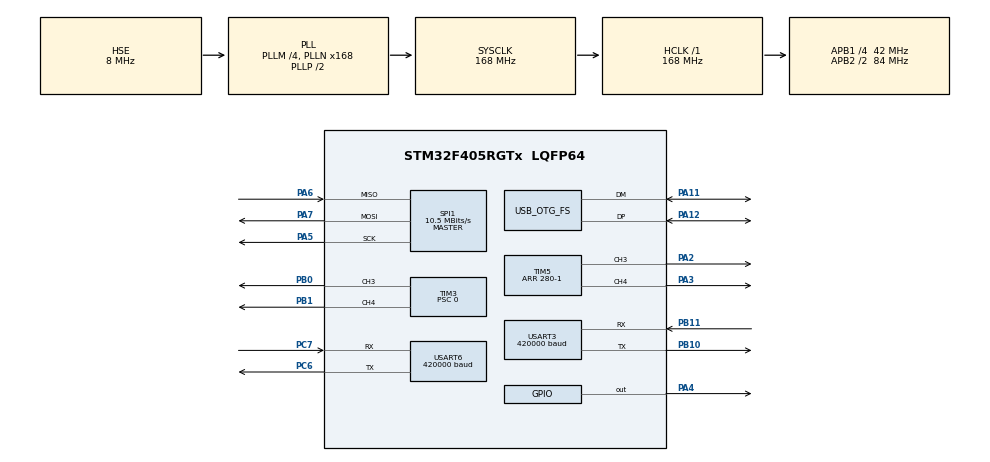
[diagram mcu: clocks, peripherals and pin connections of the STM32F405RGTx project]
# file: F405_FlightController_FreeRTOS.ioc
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Dma.Request0=SPI1_RX
Dma.Request1=SPI1_TX
Dma.Request2=TIM3_CH3
Dma.Request3=TIM5_CH3/UP
Dma.Request4=TIM5_CH4/TRIG
Dma.Request5=TIM3_CH4/UP
Dma.Request6=USART6_RX
Dma.Request7=USART3_TX
Dma.SPI1_RX.0.Direction=DMA_PERIPH_TO_MEMORY
Dma.SPI1_RX.0.FIFOMode=DMA_FIFOMODE_DISABLE
Dma.SPI1_RX.0.Instance=DMA2_Stream0
Dma.SPI1_RX.0.MemDataAlignment=DMA_MDATAALIGN_BYTE
Dma.SPI1_RX.0.MemInc=DMA_MINC_ENABLE
Dma.SPI1_RX.0.Mode=DMA_NORMAL
Dma.SPI1_RX.0.PeriphDataAlignment=DMA_PDATAALIGN_BYTE
Dma.SPI1_RX.0.PeriphInc=DMA_PINC_DISABLE
Dma.SPI1_RX.0.Priority=DMA_PRIORITY_HIGH
Dma.SPI1_TX.1.Direction=DMA_MEMORY_TO_PERIPH
Dma.SPI1_TX.1.FIFOMode=DMA_FIFOMODE_DISABLE
Dma.SPI1_TX.1.Instance=DMA2_Stream3
Dma.SPI1_TX.1.MemDataAlignment=DMA_MDATAALIGN_BYTE
Dma.SPI1_TX.1.MemInc=DMA_MINC_ENABLE
Dma.SPI1_TX.1.Mode=DMA_NORMAL
Dma.SPI1_TX.1.PeriphDataAlignment=DMA_PDATAALIGN_BYTE
Dma.SPI1_TX.1.PeriphInc=DMA_PINC_DISABLE
Dma.SPI1_TX.1.Priority=DMA_PRIORITY_HIGH
Dma.TIM3_CH3.2.Direction=DMA_MEMORY_TO_PERIPH
Dma.TIM3_CH3.2.FIFOMode=DMA_FIFOMODE_ENABLE
Dma.TIM3_CH3.2.FIFOThreshold=DMA_FIFO_THRESHOLD_FULL
Dma.TIM3_CH3.2.Instance=DMA1_Stream7
Dma.TIM3_CH3.2.MemBurst=DMA_MBURST_SINGLE
Dma.TIM3_CH3.2.MemDataAlignment=DMA_MDATAALIGN_WORD
Dma.TIM3_CH3.2.MemInc=DMA_MINC_ENABLE
Dma.TIM3_CH3.2.Mode=DMA_CIRCULAR
Dma.TIM3_CH3.2.PeriphBurst=DMA_PBURST_SINGLE
Dma.TIM3_CH3.2.PeriphDataAlignment=DMA_PDATAALIGN_WORD
Dma.TIM3_CH3.2.PeriphInc=DMA_PINC_DISABLE
Dma.TIM3_CH3.2.Priority=DMA_PRIORITY_VERY_HIGH
Dma.TIM3_CH4/UP.5.Direction=DMA_MEMORY_TO_PERIPH
Dma.TIM3_CH4/UP.5.FIFOMode=DMA_FIFOMODE_ENABLE
Dma.TIM3_CH4/UP.5.FIFOThreshold=DMA_FIFO_THRESHOLD_FULL
Dma.TIM3_CH4/UP.5.Instance=DMA1_Stream2
Dma.TIM3_CH4/UP.5.MemBurst=DMA_MBURST_SINGLE
Dma.TIM3_CH4/UP.5.MemDataAlignment=DMA_MDATAALIGN_WORD
Dma.TIM3_CH4/UP.5.MemInc=DMA_MINC_ENABLE
Dma.TIM3_CH4/UP.5.Mode=DMA_CIRCULAR
Dma.TIM3_CH4/UP.5.PeriphBurst=DMA_PBURST_SINGLE
Dma.TIM3_CH4/UP.5.PeriphDataAlignment=DMA_PDATAALIGN_WORD
Dma.TIM3_CH4/UP.5.PeriphInc=DMA_PINC_DISABLE
Dma.TIM3_CH4/UP.5.Priority=DMA_PRIORITY_VERY_HIGH
Dma.TIM5_CH3/UP.3.Direction=DMA_MEMORY_TO_PERIPH
Dma.TIM5_CH3/UP.3.FIFOMode=DMA_FIFOMODE_ENABLE
Dma.TIM5_CH3/UP.3.FIFOThreshold=DMA_FIFO_THRESHOLD_FULL
Dma.TIM5_CH3/UP.3.Instance=DMA1_Stream0
Dma.TIM5_CH3/UP.3.MemBurst=DMA_MBURST_SINGLE
Dma.TIM5_CH3/UP.3.MemDataAlignment=DMA_MDATAALIGN_WORD
Dma.TIM5_CH3/UP.3.MemInc=DMA_MINC_ENABLE
Dma.TIM5_CH3/UP.3.Mode=DMA_CIRCULAR
Dma.TIM5_CH3/UP.3.PeriphBurst=DMA_PBURST_SINGLE
Dma.TIM5_CH3/UP.3.PeriphDataAlignment=DMA_PDATAALIGN_WORD
Dma.TIM5_CH3/UP.3.PeriphInc=DMA_PINC_DISABLE
Dma.TIM5_CH3/UP.3.Priority=DMA_PRIORITY_VERY_HIGH
Dma.TIM5_CH4/TRIG.4.Direction=DMA_MEMORY_TO_PERIPH
Dma.TIM5_CH4/TRIG.4.FIFOMode=DMA_FIFOMODE_ENABLE
Dma.TIM5_CH4/TRIG.4.FIFOThreshold=DMA_FIFO_THRESHOLD_FULL
Dma.TIM5_CH4/TRIG.4.Instance=DMA1_Stream3
Dma.TIM5_CH4/TRIG.4.MemBurst=DMA_MBURST_SINGLE
Dma.TIM5_CH4/TRIG.4.MemDataAlignment=DMA_MDATAALIGN_WORD
Dma.TIM5_CH4/TRIG.4.MemInc=DMA_MINC_ENABLE
Dma.TIM5_CH4/TRIG.4.Mode=DMA_CIRCULAR
Dma.TIM5_CH4/TRIG.4.PeriphBurst=DMA_PBURST_SINGLE
Dma.TIM5_CH4/TRIG.4.PeriphDataAlignment=DMA_PDATAALIGN_WORD
Dma.TIM5_CH4/TRIG.4.PeriphInc=DMA_PINC_DISABLE
Dma.TIM5_CH4/TRIG.4.Priority=DMA_PRIORITY_VERY_HIGH
Dma.USART3_TX.7.Direction=DMA_MEMORY_TO_PERIPH
Dma.USART3_TX.7.FIFOMode=DMA_FIFOMODE_DISABLE
Dma.USART3_TX.7.Instance=DMA1_Stream4
Dma.USART3_TX.7.MemDataAlignment=DMA_MDATAALIGN_BYTE
Dma.USART3_TX.7.MemInc=DMA_MINC_ENABLE
Dma.USART3_TX.7.Mode=DMA_NORMAL
Dma.USART3_TX.7.PeriphDataAlignment=DMA_PDATAALIGN_BYTE
Dma.USART3_TX.7.PeriphInc=DMA_PINC_DISABLE
Dma.USART3_TX.7.Priority=DMA_PRIORITY_HIGH
Dma.USART6_RX.6.Direction=DMA_PERIPH_TO_MEMORY
Dma.USART6_RX.6.FIFOMode=DMA_FIFOMODE_DISABLE
Dma.USART6_RX.6.Instance=DMA2_Stream1
Dma.USART6_RX.6.MemDataAlignment=DMA_MDATAALIGN_BYTE
Dma.USART6_RX.6.MemInc=DMA_MINC_ENABLE
Dma.USART6_RX.6.Mode=DMA_CIRCULAR
Dma.USART6_RX.6.PeriphDataAlignment=DMA_PDATAALIGN_BYTE
Dma.USART6_RX.6.PeriphInc=DMA_PINC_DISABLE
Dma.USART6_RX.6.Priority=DMA_PRIORITY_VERY_HIGH
FREERTOS.BinarySemaphores01=rc_ready_semHandle,Dynamic,NULL,Available
FREERTOS.Tasks01=sensor_fusion_t,3,512,sensor_fusion_func,Default,NULL,Dynamic,NULL,NULL;control_task,2,512,control_func,Default,NULL,Dynamic,NULL,NULL;rc_input_task,2,256,rc_input_func,Default,NULL,Dynamic,NULL,NULL;telemetry_task,-2,384,telemetry_func,Default,NULL,Dynamic,NULL,NULL
Mcu.Family=STM32F4
Mcu.Name=STM32F405RGTx
Mcu.Package=LQFP64
NVIC.DMA1_Stream0_IRQn=true\:5\:0\:true\:false\:true\:true\:false\:true\:true
NVIC.DMA1_Stream2_IRQn=true\:5\:0\:true\:false\:true\:true\:false\:true\:true
NVIC.DMA1_Stream3_IRQn=true\:5\:0\:true\:false\:true\:true\:false\:true\:true
NVIC.DMA1_Stream4_IRQn=true\:5\:0\:false\:false\:true\:true\:false\:true\:true
NVIC.DMA1_Stream7_IRQn=true\:5\:0\:true\:false\:true\:true\:false\:true\:true
NVIC.DMA2_Stream0_IRQn=true\:5\:0\:true\:false\:true\:true\:false\:true\:true
NVIC.DMA2_Stream1_IRQn=true\:5\:0\:false\:false\:true\:true\:false\:true\:true
NVIC.DMA2_Stream3_IRQn=true\:5\:0\:true\:false\:true\:true\:false\:true\:true
NVIC.OTG_FS_IRQn=true\:5\:0\:false\:false\:true\:true\:false\:true\:true
NVIC.PriorityGroup=NVIC_PRIORITYGROUP_4
NVIC.SPI1_IRQn=true\:5\:0\:true\:false\:true\:true\:true\:true\:true
NVIC.TIM2_IRQn=true\:5\:0\:true\:false\:true\:true\:true\:true\:true
NVIC.TIM4_IRQn=true\:15\:0\:false\:false\:true\:false\:false\:true\:true
NVIC.TimeBase=TIM4_IRQn
NVIC.TimeBaseIP=TIM4
NVIC.USART6_IRQn=true\:5\:0\:true\:false\:true\:true\:true\:true\:true
PA11.Mode=Device_Only
PA11.Signal=USB_OTG_FS_DM
PA12.Mode=Device_Only
PA12.Signal=USB_OTG_FS_DP
PA2.Signal=S_TIM5_CH3
PA3.Signal=S_TIM5_CH4
PA4.GPIO_Speed=GPIO_SPEED_FREQ_HIGH
PA4.PinState=GPIO_PIN_SET
PA4.Signal=GPIO_Output
PA5.Mode=Full_Duplex_Master
PA5.Signal=SPI1_SCK
PA6.Mode=Full_Duplex_Master
PA6.Signal=SPI1_MISO
PA7.Mode=Full_Duplex_Master
PA7.Signal=SPI1_MOSI
PB0.Signal=S_TIM3_CH3
PB1.Signal=S_TIM3_CH4
PB10.Mode=Asynchronous
PB10.Signal=USART3_TX
PB11.Mode=Asynchronous
PB11.Signal=USART3_RX
PC6.Mode=Asynchronous
PC6.Signal=USART6_TX
PC7.Mode=Asynchronous
PC7.Signal=USART6_RX
PH0-OSC_IN.Mode=HSE-External-Oscillator
PH0-OSC_IN.Signal=RCC_OSC_IN
PH1-OSC_OUT.Mode=HSE-External-Oscillator
PH1-OSC_OUT.Signal=RCC_OSC_OUT
ProjectManager.HeapSize=0x200
ProjectManager.StackSize=0x400
ProjectManager.TargetToolchain=STM32CubeIDE
RCC.48MHZClocksFreq_Value=48000000
RCC.AHBFreq_Value=168000000
RCC.APB1CLKDivider=RCC_HCLK_DIV4
RCC.APB1Freq_Value=42000000
RCC.APB1TimFreq_Value=84000000
RCC.APB2CLKDivider=RCC_HCLK_DIV2
RCC.APB2Freq_Value=84000000
RCC.APB2TimFreq_Value=168000000
RCC.CortexFreq_Value=168000000
RCC.HCLKFreq_Value=168000000
RCC.HSE_VALUE=8000000
RCC.HSI_VALUE=16000000
RCC.LSE_VALUE=32768
RCC.PLLM=4
RCC.PLLN=168
RCC.PLLQ=7
RCC.SYSCLKFreq_VALUE=168000000
RCC.SYSCLKSource=RCC_SYSCLKSOURCE_PLLCLK
RCC.VCOOutputFreq_Value=336000000
SH.S_TIM3_CH3.0=TIM3_CH3,PWM Generation3 CH3
SH.S_TIM3_CH4.0=TIM3_CH4,PWM Generation4 CH4
SH.S_TIM5_CH3.0=TIM5_CH3,PWM Generation3 CH3
SH.S_TIM5_CH4.0=TIM5_CH4,PWM Generation4 CH4
SPI1.BaudRatePrescaler=SPI_BAUDRATEPRESCALER_8
SPI1.CalculateBaudRate=10.5 MBits/s
SPI1.Direction=SPI_DIRECTION_2LINES
SPI1.Mode=SPI_MODE_MASTER
SPI1.VirtualType=VM_MASTER
TIM2.Period=1000-1
TIM2.Prescaler=84-1
TIM3.Channel-PWM\ Generation3\ CH3=TIM_CHANNEL_3
TIM3.Channel-PWM\ Generation4\ CH4=TIM_CHANNEL_4
TIM3.OCFastMode_PWM-PWM\ Generation3\ CH3=TIM_OCFAST_ENABLE
TIM3.OCFastMode_PWM-PWM\ Generation4\ CH4=TIM_OCFAST_ENABLE
TIM3.Period=280-1
TIM3.Prescaler=0
TIM3.Pulse-PWM\ Generation3\ CH3=105
TIM5.Channel-PWM\ Generation3\ CH3=TIM_CHANNEL_3
TIM5.Channel-PWM\ Generation4\ CH4=TIM_CHANNEL_4
TIM5.OCFastMode_PWM-PWM\ Generation3\ CH3=TIM_OCFAST_ENABLE
TIM5.OCFastMode_PWM-PWM\ Generation4\ CH4=TIM_OCFAST_ENABLE
TIM5.Period=280-1
TIM5.Pulse-PWM\ Generation3\ CH3=105
TIM5.Pulse-PWM\ Generation4\ CH4=105
USART3.BaudRate=420000
USART3.VirtualMode=VM_ASYNC
USART6.BaudRate=420000
USART6.OverSampling=UART_OVERSAMPLING_8
USART6.VirtualMode=VM_ASYNC
USB_DEVICE.CLASS_NAME_FS=CDC
USB_DEVICE.VirtualMode-CDC_FS=Cdc
USB_DEVICE.VirtualModeFS=Cdc_FS
USB_OTG_FS.VirtualMode=Device_Only
VP_FREERTOS_VS_CMSIS_V1.Mode=CMSIS_V1
VP_SYS_VS_tim4.Mode=TIM4
VP_TIM2_VS_ClockSourceINT.Mode=Internal
VP_TIM3_VS_ClockSourceINT.Mode=Internal
VP_TIM5_VS_ClockSourceINT.Mode=Internal
VP_USB_DEVICE_VS_USB_DEVICE_CDC_FS.Mode=CDC_FS
board=custom

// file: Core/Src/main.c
/* USER CODE BEGIN Header */
/**
  ******************************************************************************
  * @file           : main.c
  * @brief          : Main program body
  ******************************************************************************
  * @attention
  *
  * Copyright (c) 2025 STMicroelectronics.
  * All rights reserved.
  *
  * This software is licensed under terms that can be found in the LICENSE file
  * in the root directory of this software component.
  * If no LICENSE file comes with this software, it is provided AS-IS.
  *
  ******************************************************************************
  */
/* USER CODE END Header */
#include "main.h"
#include "cmsis_os.h"
#include "dma.h"
#include "spi.h"
#include "tim.h"
#include "usart.h"
#include "usb_device.h"
#include "gpio.h"

/* USER CODE BEGIN Includes */
#include "mpu6000.h"
#include "filter.h"
#include "pid.h"
#include "dshot.h"
#include "CRsF.h"
#include <string.h>
#include <math.h>
#include "stm32f4xx.h"
#include <stdbool.h>
#include "usbd_cdc_if.h"
#include "freertos.h"
/* USER CODE END Includes */

/* USER CODE BEGIN PD */
#define PID_KP_PITCH_INNER		0.8f
#define PID_KD_PITCH_INNER		0.005f
#define PID_KI_PITCH_INNER		0.2f

#define PID_KP_PITCH_OUTER		3.0f
#define PID_KD_PITCH_OUTER		0.0f
#define PID_KI_PITCH_OUTER		0.0f

#define PID_KP_ROLL_INNER		0.8f
#define PID_KD_ROLL_INNER		0.005f
#define PID_KI_ROLL_INNER		0.2f

#define PID_KP_ROLL_OUTER		3.0f
#define PID_KD_ROLL_OUTER		0.0f
#define PID_KI_ROLL_OUTER		0.0f

#define PID_KP_YAW				3.5f
#define PID_KD_YAW				0.0f
#define PID_KI_YAW				0.0f

#define PID_KP_YAW_RATE			3.5f
#define PID_KD_YAW_RATE			0.0f
#define PID_KI_YAW_RATE			0.0f
/* USER CODE END PD */

/* USER CODE BEGIN PV */
extern UART_HandleTypeDef huart6;
extern DMA_HandleTypeDef hdma_usart6_rx;
extern osThreadId sensor_fusion_tHandle;
extern osThreadId control_taskHandle;
extern osThreadId rc_input_taskHandle;
extern osThreadId telemetry_taskHandle;

extern IIR_Filter_3D gyro_filtered;
extern Double_PID_Controller PID_Controller_Roll, PID_Controller_Pitch;
extern PID_Controller PID_Controller_Yaw, PID_Controller_Yaw_Rate;

extern MPU6000 mpu;

extern uint32_t DShot_MemoryBufferMotor1[MEM_BUFFER_LENGTH];
extern uint32_t DShot_DMABufferMotor1[DMA_BUFFER_LENGTH];
extern uint32_t DShot_MemoryBufferMotor2[MEM_BUFFER_LENGTH];
extern uint32_t DShot_DMABufferMotor2[DMA_BUFFER_LENGTH];
extern uint32_t DShot_MemoryBufferMotor3[MEM_BUFFER_LENGTH];
extern uint32_t DShot_DMABufferMotor3[DMA_BUFFER_LENGTH];
extern uint32_t DShot_MemoryBufferMotor4[MEM_BUFFER_LENGTH];
extern uint32_t DShot_DMABufferMotor4[DMA_BUFFER_LENGTH];

bool motor_armed;

uint8_t uart_rx_buffer[64];
CrsF_Frame receive_frame;
volatile bool uart_ready = false;

float ScaledControllerOutput[5];

#define CRSF_DMA_BUF_SIZE 128
extern uint8_t crsf_dma_buf[CRSF_DMA_BUF_SIZE];
uint16_t old_pos = 0;

bool PID_outer_loop_activation_flag;

/* USER CODE END PV */

void SystemClock_Config(void);
void MX_FREERTOS_Init(void);
/* USER CODE BEGIN PFP */

void HAL_SPI_TxRxCpltCallback(SPI_HandleTypeDef *hspi)
{
    if (hspi->Instance == SPI1) {
    	BaseType_t xHigherPriorityTaskWoken = pdFALSE;
    	vTaskNotifyGiveFromISR(sensor_fusion_tHandle, &xHigherPriorityTaskWoken);

    	portYIELD_FROM_ISR(xHigherPriorityTaskWoken);
    }
}

//Hàm call back gửi DSHOT cho động cơ
void HAL_TIM_PWM_PulseFinishedHalfCpltCallback(TIM_HandleTypeDef *htim)
{

    if (htim->Instance == TIM5)
    {
        if (htim->Channel == HAL_TIM_ACTIVE_CHANNEL_3)
        {
            memcpy(DShot_DMABufferMotor2, DShot_MemoryBufferMotor2,
                   MEM_BUFFER_LENGTH * sizeof(DShot_DMABufferMotor2[0]));
        }
        else if (htim->Channel == HAL_TIM_ACTIVE_CHANNEL_4)
        {
            memcpy(DShot_DMABufferMotor3, DShot_MemoryBufferMotor3,
                   MEM_BUFFER_LENGTH * sizeof(DShot_DMABufferMotor3[0]));
        }
    }

    else if (htim->Instance == TIM3){
        if (htim->Channel == HAL_TIM_ACTIVE_CHANNEL_4)
        {
            memcpy(DShot_DMABufferMotor1, DShot_MemoryBufferMotor1,
                   MEM_BUFFER_LENGTH * sizeof(DShot_DMABufferMotor1[0]));
        }
        else if (htim->Channel == HAL_TIM_ACTIVE_CHANNEL_3)
        {
            memcpy(DShot_DMABufferMotor4, DShot_MemoryBufferMotor4,
                   MEM_BUFFER_LENGTH * sizeof(DShot_DMABufferMotor4[0]));
        }
    }

}

/* USER CODE END PFP */

/* USER CODE BEGIN 0 */
float get_pitch(float Ax, float Ay, float Az) {
    return atan2f(Ay, sqrtf(Ax * Ax + Az * Az)) * 180.0f / M_PI;
}

float get_roll(float Ax, float Az) {
    return atan2f(-Ax, Az) * 180.0f / M_PI;
}

void init_PIDs(void)
{
//    PID_Init(&pid_roll,  1.5f, 0.0f, 0.05f, 400.0f, 100.0f);
//    PID_Init(&pid_pitch, 1.5f, 0.0f, 0.05f, 400.0f, 100.0f);
//    PID_Init(&pid_yaw,   2.0f, 0.0f, 0.10f, 400.0f, 100.0f);
	PID_Init(&PID_Controller_Pitch.inner_loop, PID_KP_PITCH_INNER, PID_KI_PITCH_INNER, PID_KD_PITCH_INNER, 200.0f, 100.0f);
	PID_Init(&PID_Controller_Roll.inner_loop, PID_KP_ROLL_INNER, PID_KI_ROLL_INNER, PID_KD_ROLL_INNER, 200.0f, 100.0f);
	PID_Init(&PID_Controller_Yaw, PID_KP_YAW, PID_KI_YAW, PID_KD_YAW, 400.0f, 100.0f);

	PID_Init(&PID_Controller_Pitch.outer_loop, PID_KP_PITCH_OUTER, PID_KI_PITCH_OUTER, PID_KD_PITCH_OUTER, 200.0f, 50.0f);
	PID_Init(&PID_Controller_Roll.outer_loop, PID_KP_ROLL_OUTER, PID_KI_ROLL_OUTER, PID_KD_ROLL_OUTER, 200.0f, 50.0f);
	PID_Init(&PID_Controller_Yaw_Rate, PID_KP_YAW_RATE, PID_KI_YAW_RATE, PID_KD_YAW_RATE, 200.0f, 50.0f);

}

void CRSF_IdleHandler(void) {
    uint16_t dma_remaining = __HAL_DMA_GET_COUNTER(&hdma_usart6_rx);
    uint16_t new_pos = CRSF_DMA_BUF_SIZE - dma_remaining;

    if(new_pos >= old_pos) {
        for(uint16_t i = old_pos; i < new_pos; i++) {
            if(Check_Status(crsf_dma_buf[i], &receive_frame)) {
                CRsF_Process(&receive_frame);
            }
        }
    } else {
        for(uint16_t i = old_pos; i < CRSF_DMA_BUF_SIZE; i++) {
            if(Check_Status(crsf_dma_buf[i], &receive_frame)) {
                CRsF_Process(&receive_frame);
            }
        }
        for(uint16_t i = 0; i < new_pos; i++) {
            if(Check_Status(crsf_dma_buf[i], &receive_frame)) {
                CRsF_Process(&receive_frame);
            }
        }
    }

    old_pos = new_pos;
}

/* USER CODE END 0 */

int main(void)
{

  /* MCU Configuration--------------------------------------------------------*/

  /* Reset of all peripherals, Initializes the Flash interface and the Systick. */
  HAL_Init();

  /* Configure the system clock */
  SystemClock_Config();

  /* Initialize all configured peripherals */
  MX_GPIO_Init();
  MX_DMA_Init();
  MX_SPI1_Init();
  MX_TIM2_Init();
  MX_TIM3_Init();
  MX_TIM5_Init();
  MX_USART6_UART_Init();
  MX_USART3_UART_Init();
  /* USER CODE BEGIN 2 */
  //IIR_Filter_3D_Init(&acc_filtered, IIR_ACC_ALPHA, IIR_ACC_BETA);
  IIR_Filter_3D_Init(&gyro_filtered, IIR_GYR_ALPHA, IIR_GYR_BETA);
  MPU6000_Init(&mpu, &hspi1);

  mpu.state=0;
  for(int i=0;i<=14;i++) mpu.tx_buffer[i]=0xFF;
  init_PIDs();
  MPU6000_Calibrate(&mpu);

  Dshot_DMABuffer_init(DShot_DMABufferMotor1);
  Dshot_DMABuffer_init(DShot_DMABufferMotor2);
  Dshot_DMABuffer_init(DShot_DMABufferMotor3);
  Dshot_DMABuffer_init(DShot_DMABufferMotor4);

  Dshot_MemoryBuffer_init(DShot_MemoryBufferMotor1);
  Dshot_MemoryBuffer_init(DShot_MemoryBufferMotor2);
  Dshot_MemoryBuffer_init(DShot_MemoryBufferMotor3);
  Dshot_MemoryBuffer_init(DShot_MemoryBufferMotor4);

  Dshot_Calibrate(DShot_DMABufferMotor1);
  Dshot_Calibrate(DShot_DMABufferMotor2);
  Dshot_Calibrate(DShot_DMABufferMotor3);
  Dshot_Calibrate(DShot_DMABufferMotor4);

  //HAL_TIM_PWM_Start_DMA(&htim5, TIM_CHANNEL_1, DShot_DMABufferMotor1, DMA_BUFFER_LENGTH);
  HAL_TIM_PWM_Start_DMA(&htim5, TIM_CHANNEL_4, DShot_DMABufferMotor1, DMA_BUFFER_LENGTH);
  HAL_TIM_PWM_Start_DMA(&htim3, TIM_CHANNEL_3, DShot_DMABufferMotor2, DMA_BUFFER_LENGTH);
  HAL_TIM_PWM_Start_DMA(&htim3, TIM_CHANNEL_4, DShot_DMABufferMotor3, DMA_BUFFER_LENGTH);
  HAL_TIM_PWM_Start_DMA(&htim5, TIM_CHANNEL_3, DShot_DMABufferMotor4, DMA_BUFFER_LENGTH);
  motor_armed = true;

  Dshot_PrepareFrame(0, DShot_MemoryBufferMotor1);
  Dshot_PrepareFrame(0, DShot_MemoryBufferMotor2);
  Dshot_PrepareFrame(0, DShot_MemoryBufferMotor3);
  Dshot_PrepareFrame(0, DShot_MemoryBufferMotor4);

  HAL_Delay(3000);

  //HAL_UART_Receive_DMA(&huart6, crsf_dma_buf, CRSF_DMA_BUF_SIZE);
  //__HAL_UART_ENABLE_IT(&huart6, UART_IT_IDLE);  // enable IDLE interrupt
  //HAL_TIM_Base_Start_IT(&htim2);
  /* USER CODE END 2 */

  /* Call init function for freertos objects (in cmsis_os2.c) */
  MX_FREERTOS_Init();
  HAL_UART_Receive_DMA(&huart6, crsf_dma_buf, CRSF_DMA_BUF_SIZE);
  __HAL_UART_ENABLE_IT(&huart6, UART_IT_IDLE);  // enable IDLE interrupt
  HAL_TIM_Base_Start_IT(&htim2);
  /* Start scheduler */
  osKernelStart();

  /* We should never get here as control is now taken by the scheduler */

  /* Infinite loop */
  while (1)
  {
	  }

    /* USER CODE BEGIN 3 */
 // }
  /* USER CODE END 3 */
}

void SystemClock_Config(void)
{
  RCC_OscInitTypeDef RCC_OscInitStruct = {0};
  RCC_ClkInitTypeDef RCC_ClkInitStruct = {0};

  /** Configure the main internal regulator output voltage
  */
  __HAL_RCC_PWR_CLK_ENABLE();
  __HAL_PWR_VOLTAGESCALING_CONFIG(PWR_REGULATOR_VOLTAGE_SCALE1);

  /** Initializes the RCC Oscillators according to the specified parameters
  * in the RCC_OscInitTypeDef structure.
  */
  RCC_OscInitStruct.OscillatorType = RCC_OSCILLATORTYPE_HSE;
  RCC_OscInitStruct.HSEState = RCC_HSE_ON;
  RCC_OscInitStruct.PLL.PLLState = RCC_PLL_ON;
  RCC_OscInitStruct.PLL.PLLSource = RCC_PLLSOURCE_HSE;
  RCC_OscInitStruct.PLL.PLLM = 4;
  RCC_OscInitStruct.PLL.PLLN = 168;
  RCC_OscInitStruct.PLL.PLLP = RCC_PLLP_DIV2;
  RCC_OscInitStruct.PLL.PLLQ = 7;
  if (HAL_RCC_OscConfig(&RCC_OscInitStruct) != HAL_OK)
  {
    Error_Handler();
  }

  /** Initializes the CPU, AHB and APB buses clocks
  */
  RCC_ClkInitStruct.ClockType = RCC_CLOCKTYPE_HCLK|RCC_CLOCKTYPE_SYSCLK
                              |RCC_CLOCKTYPE_PCLK1|RCC_CLOCKTYPE_PCLK2;
  RCC_ClkInitStruct.SYSCLKSource = RCC_SYSCLKSOURCE_PLLCLK;
  RCC_ClkInitStruct.AHBCLKDivider = RCC_SYSCLK_DIV1;
  RCC_ClkInitStruct.APB1CLKDivider = RCC_HCLK_DIV4;
  RCC_ClkInitStruct.APB2CLKDivider = RCC_HCLK_DIV2;

  if (HAL_RCC_ClockConfig(&RCC_ClkInitStruct, FLASH_LATENCY_5) != HAL_OK)
  {
    Error_Handler();
  }
}

void HAL_TIM_PeriodElapsedCallback(TIM_HandleTypeDef *htim)
{
  /* USER CODE BEGIN Callback 0 */
	if (htim->Instance == TIM2)
   { // <--- CHỈ KIỂM TRA TIM2
	   if (mpu.state == 0) {
	   mpu.state = 1; // request new transfer
	   MPU6000_Start_DMA(&mpu);
     }
   }
  /* USER CODE END Callback 0 */
  if (htim->Instance == TIM4)
  {
    HAL_IncTick();
  }
}

void Error_Handler(void)
{
  __disable_irq();
  while (1)
  {
  }
}

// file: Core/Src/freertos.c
/* USER CODE BEGIN Header */
/**
  ******************************************************************************
  * File Name          : freertos.c
  * Description        : Code for freertos applications
  ******************************************************************************
  * @attention
  *
  * Copyright (c) 2025 STMicroelectronics.
  * All rights reserved.
  *
  * This software is licensed under terms that can be found in the LICENSE file
  * in the root directory of this software component.
  * If no LICENSE file comes with this software, it is provided AS-IS.
  *
  ******************************************************************************
  */
/* USER CODE END Header */

#include "FreeRTOS.h"
#include "task.h"
#include "main.h"
#include "cmsis_os.h"

/* USER CODE BEGIN Includes */
#include "mpu6000.h"
#include "filter.h"
#include "pid.h"
#include "dshot.h"
#include "CRsF.h"
#include <string.h>
#include <math.h>
#include "stm32f4xx.h"
#include <stdbool.h>
#include "usbd_cdc_if.h"
#include "ekf.h"

#define CRSF_DMA_BUF_SIZE 128
#define EKF_MODE 	0
#define COMP_MODE	1
#define SENSOR_FUSION_MODE	EKF_MODE
/* USER CODE END Includes */

/* USER CODE BEGIN PTD */
MPU6000 mpu;

TIM_HandleTypeDef *htim;

float rollHat_acc_rad;
float pitchHat_acc_rad;
IIR_Filter_3D acc_filtered;
IIR_Filter_3D gyro_filtered;

float dt = 0.001f;
float acc_x = 0.0f;
float acc_y = 0.0f;
float acc_z = 0.0f;
float gyro_p = 0.0f;
float gyro_q = 0.0f;
float gyro_r = 0.0f;

float pitch,roll,yaw,yawHat_acc_rad;
float roll_rad, pitch_rad, yaw_rad;
uint32_t global_counter = 0;
float rollHat_acc_rad;
float pitchHat_acc_rad;
float rollDot;
float pitchDot;
float roll_out;
float pitch_out;
float yaw_out;
float yawDot;
Double_PID_Controller PID_Controller_Roll, PID_Controller_Pitch;
PID_Controller PID_Controller_Yaw, PID_Controller_Yaw_Rate;
uint16_t throttle = 1000;

float m1 = 0;
float m2 = 0;
float m3 = 0;
float m4 = 0;

float  yaw_heading_reference = 0;

uint8_t crsf_dma_buf[CRSF_DMA_BUF_SIZE];
extern UART_HandleTypeDef huart6;
extern UART_HandleTypeDef huart3;

uint32_t DShot_MemoryBufferMotor1[MEM_BUFFER_LENGTH] = {0};
uint32_t DShot_DMABufferMotor1[DMA_BUFFER_LENGTH] = {0};
uint32_t DShot_MemoryBufferMotor2[MEM_BUFFER_LENGTH] = {0};
uint32_t DShot_DMABufferMotor2[DMA_BUFFER_LENGTH] = {0};
uint32_t DShot_MemoryBufferMotor3[MEM_BUFFER_LENGTH] = {0};
uint32_t DShot_DMABufferMotor3[DMA_BUFFER_LENGTH] = {0};
uint32_t DShot_MemoryBufferMotor4[MEM_BUFFER_LENGTH] = {0};
uint32_t DShot_DMABufferMotor4[DMA_BUFFER_LENGTH] = {0};

char  USB_TX_Buffer[128];
float pitch_target;
float roll_target;

EKF_t ekf;
/* USER CODE END PTD */

/* USER CODE BEGIN PD */
static inline float constrain(float value, float min_val, float max_val)
{
    if (value < min_val) return min_val;
    else if (value > max_val) return max_val;
    else return value;
}
/* USER CODE END PD */

osThreadId sensor_fusion_tHandle;
osThreadId control_taskHandle;
osThreadId rc_input_taskHandle;
osThreadId telemetry_taskHandle;
osSemaphoreId rc_ready_semHandleHandle;

void sensor_fusion_func(void const * argument);
void control_func(void const * argument);
void rc_input_func(void const * argument);
void telemetry_func(void const * argument);

extern void MX_USB_DEVICE_Init(void);
void MX_FREERTOS_Init(void); /* (MISRA C 2004 rule 8.1) */

/* GetIdleTaskMemory prototype (linked to static allocation support) */
void vApplicationGetIdleTaskMemory( StaticTask_t **ppxIdleTaskTCBBuffer, StackType_t **ppxIdleTaskStackBuffer, uint32_t *pulIdleTaskStackSize );

/* USER CODE BEGIN GET_IDLE_TASK_MEMORY */
static StaticTask_t xIdleTaskTCBBuffer;
static StackType_t xIdleStack[configMINIMAL_STACK_SIZE];

void vApplicationGetIdleTaskMemory( StaticTask_t **ppxIdleTaskTCBBuffer, StackType_t **ppxIdleTaskStackBuffer, uint32_t *pulIdleTaskStackSize )
{
  *ppxIdleTaskTCBBuffer = &xIdleTaskTCBBuffer;
  *ppxIdleTaskStackBuffer = &xIdleStack[0];
  *pulIdleTaskStackSize = configMINIMAL_STACK_SIZE;
  /* place for user code */
}
/* USER CODE END GET_IDLE_TASK_MEMORY */

void MX_FREERTOS_Init(void) {

  /* Create the semaphores(s) */
  /* definition and creation of rc_ready_semHandle */
  osSemaphoreDef(rc_ready_semHandle);
  rc_ready_semHandleHandle = osSemaphoreCreate(osSemaphore(rc_ready_semHandle), 1);

  /* Create the thread(s) */
  /* definition and creation of sensor_fusion_t */
  osThreadDef(sensor_fusion_t, sensor_fusion_func, osPriorityRealtime, 0, 512);
  sensor_fusion_tHandle = osThreadCreate(osThread(sensor_fusion_t), NULL);

  /* definition and creation of control_task */
  osThreadDef(control_task, control_func, osPriorityHigh, 0, 512);
  control_taskHandle = osThreadCreate(osThread(control_task), NULL);

  /* definition and creation of rc_input_task */
  osThreadDef(rc_input_task, rc_input_func, osPriorityHigh, 0, 256);
  rc_input_taskHandle = osThreadCreate(osThread(rc_input_task), NULL);

  /* definition and creation of telemetry_task */
  osThreadDef(telemetry_task, telemetry_func, osPriorityLow, 0, 384);
  telemetry_taskHandle = osThreadCreate(osThread(telemetry_task), NULL);

}

void sensor_fusion_func(void const * argument)
{
  /* init code for USB_DEVICE */
  MX_USB_DEVICE_Init();
  /* USER CODE BEGIN sensor_fusion_func */

  /* Infinite loop */
  for(;;)
  {
	  #if SENSOR_FUSION_MODE ==  COMP_MODE
	  ulTaskNotifyTake(pdTRUE, portMAX_DELAY);
	  HAL_GPIO_WritePin(MPU6000_CS_PORT, MPU6000_CS_PIN, GPIO_PIN_SET);
	  MPU6000_Process_DMA(&mpu);
	  mpu.state = 0;

	  acc_x = mpu.acc[0];
	  acc_y = mpu.acc[1];
	  acc_z = mpu.acc[2];

	  IIR_Filter_3D_Update(&gyro_filtered, mpu.gyro[0], mpu.gyro[1], mpu.gyro[2], &gyro_p, &gyro_q, &gyro_r);
	  /* Ước tính góc (Complementary filter) */
	  rollHat_acc_rad = atan2f(acc_y, acc_z);
	  pitchHat_acc_rad = atan2f(-acc_x, sqrtf(acc_y * acc_y + acc_z * acc_z));
	  float rollDot_rad = (gyro_p * (M_PI / 180.0f) + tanf(pitchHat_acc_rad) * sinf(rollHat_acc_rad) * gyro_q * (M_PI / 180.0f) + tanf(pitchHat_acc_rad) * cosf(rollHat_acc_rad) * gyro_r * (M_PI / 180.0f));
	  float pitchDot_rad = (cosf(rollHat_acc_rad) * gyro_q * (M_PI / 180.0f) - sinf(rollHat_acc_rad) * gyro_r * (M_PI / 180.0f));

	  roll_rad = (1.0f - COMP_ALPHA) * rollHat_acc_rad + COMP_ALPHA * (roll_rad + rollDot_rad * dt );
	  pitch_rad = (1.0f - COMP_ALPHA) * pitchHat_acc_rad + COMP_ALPHA * (pitch_rad + pitchDot_rad * dt );
	  yawDot = gyro_r;

	  rollDot = rollDot_rad * (180.0f / M_PI);
	  pitchDot = pitchDot_rad * (180.0f / M_PI);
	  roll = roll_rad * (180.0f / M_PI);
	  pitch = pitch_rad * (180.0f / M_PI);
	  yaw = yaw + yawDot * dt;
	  while (yaw>= 360.0f) yaw -= 360.0f;
	  while (yaw < 0.0f)         yaw += 360.0f;

	  global_counter++;
	  PID_outer_loop_activation_flag = (global_counter % 4 == 0);
	  xTaskNotifyGive(control_taskHandle);

	  #else
	  ulTaskNotifyTake(pdTRUE, portMAX_DELAY);
	  HAL_GPIO_WritePin(MPU6000_CS_PORT, MPU6000_CS_PIN, GPIO_PIN_SET);
	  MPU6000_Process_DMA(&mpu);
	  mpu.state = 0;

	  acc_x = mpu.acc[0];
	  acc_y = mpu.acc[1];
	  acc_z = mpu.acc[2];
	  mpu.gyro[0] += mpu.gyro_offset[0];
	  mpu.gyro[1] += mpu.gyro_offset[1];

	  IIR_Filter_3D_Update(&gyro_filtered, mpu.gyro[0], mpu.gyro[1], mpu.gyro[2], &gyro_p, &gyro_q, &gyro_r);
	  float gyro_rad_s[3];
	  gyro_rad_s[0] = gyro_p * M_PI / 180.0f;
	  gyro_rad_s[1] = gyro_q * M_PI / 180.0f;
	  gyro_rad_s[2] = gyro_r * M_PI / 180.0f;

	  float acc_m_s2[3];
	  acc_m_s2[0] = acc_x * 9.81f;
	  acc_m_s2[1] = acc_y * 9.81f;
	  acc_m_s2[2] = acc_z * 9.81f;

	  EKF_Predict(&ekf, gyro_rad_s, dt);
	  EKF_UpdateAccel(&ekf, acc_m_s2);
	  yawDot = gyro_r;

	  quad_to_euler(&ekf, &roll_rad, &pitch_rad);
	  roll = roll_rad * (180.0f / M_PI);
	  pitch = pitch_rad * (180.0f / M_PI);
	  yaw = yaw + yawDot * dt;
	  while (yaw>= 360.0f) yaw -= 360.0f;
	  while (yaw < 0.0f)         yaw += 360.0f;

	  global_counter++;
	  PID_outer_loop_activation_flag = (global_counter % 4 == 0);
	  xTaskNotifyGive(control_taskHandle);
	  #endif

  }
  /* USER CODE END sensor_fusion_func */
}

void control_func(void const * argument)
{
  /* USER CODE BEGIN control_func */

  /* Infinite loop */
  for(;;)
  {
	    ulTaskNotifyTake(pdTRUE, portMAX_DELAY);
		roll_target = (ScaledControllerOutput[CH_ROLL]- 1500.0f) * 0.08f;
		pitch_target = (ScaledControllerOutput[CH_PITCH]- 1500.0f) * -0.08f;
		roll_out = PID_Double_Calculation(&PID_Controller_Roll, roll_target, roll, rollDot, dt);
		pitch_out = PID_Double_Calculation(&PID_Controller_Pitch, pitch_target, pitch, pitchDot, dt);

		if (ScaledControllerOutput[CH_YAW] < 1485 || ScaledControllerOutput[CH_YAW] > 1515){
			yaw_heading_reference = yaw;
			yaw_out = PID_Yaw_Rate_Calculation(&PID_Controller_Yaw_Rate, (ScaledControllerOutput[CH_YAW] - 1500.0f) * 0.08f , yawDot, dt);
		}
		else{
			yaw_out = PID_Yaw_Angle_Calculation(&PID_Controller_Yaw, yaw_heading_reference , yaw, yawDot, dt);
		}

		// 3. === LOGIC MOTOR MIX (CŨNG TỪ MAIN.C) ===
		m1 = 100 + ScaledControllerOutput[CH_THROTTLE] - pitch_out - roll_out + yaw_out;
		m2 = 100 + ScaledControllerOutput[CH_THROTTLE] + pitch_out - roll_out - yaw_out;
		m3 = 100 + ScaledControllerOutput[CH_THROTTLE] - pitch_out + roll_out - yaw_out;
		m4 = 100 + ScaledControllerOutput[CH_THROTTLE] + pitch_out + roll_out + yaw_out;

		// 4. === LOGIC CLAMP (CŨNG TỪ MAIN.C) ===
		m1 = constrain(m1, 0, 1999);
		m2 = constrain(m2, 0, 1999);
		m3 = constrain(m3, 0, 1999);
		m4 = constrain(m4, 0, 1999);

		// 5. === CHUẨN BỊ DSHOT (TỪ MAIN.C WHILE(1)) ===
		// Logic này chuẩn bị dữ liệu cho ngắt DShot DMA sử dụng
		if (ScaledControllerOutput[CH_ARM] < 1500){
			Dshot_PrepareFrame(0, DShot_MemoryBufferMotor1);
			Dshot_PrepareFrame(0, DShot_MemoryBufferMotor2);
			Dshot_PrepareFrame(0, DShot_MemoryBufferMotor3);
			Dshot_PrepareFrame(0, DShot_MemoryBufferMotor4);
		}
		else{
			Dshot_PrepareFrame(m1, DShot_MemoryBufferMotor1);
			Dshot_PrepareFrame(m2, DShot_MemoryBufferMotor2);
			Dshot_PrepareFrame(m3, DShot_MemoryBufferMotor3);
			Dshot_PrepareFrame(m4, DShot_MemoryBufferMotor4);
		}

  }
  /* USER CODE END control_func */
}

void rc_input_func(void const * argument)
{
  /* USER CODE BEGIN rc_input_func */
  /* Infinite loop */
  for(;;)
  {
	  if(osSemaphoreWait(rc_ready_semHandleHandle, 100) == osOK)
	  {
	     CRSF_IdleHandler();

	  }
  }
  /* USER CODE END rc_input_func */
}

void telemetry_func(void const * argument)
{
  /* USER CODE BEGIN telemetry_func */
	 uint8_t tx_buf[32];
	 TickType_t xLastWakeTime = xTaskGetTickCount();
	 uint8_t counter = 0;
  /* Infinite loop */
  for(;;)
  {
	  float yaw_rad_val = yaw * 0.01745329f;
	  CRsF_Pack_Attitude(tx_buf, pitch_rad, roll_rad, yaw_rad_val);
	  HAL_UART_Transmit_DMA(&huart3, tx_buf, 10);
	  counter++;
	  if(counter >= 10) {
	     counter = 0;
	     osDelay(10); // Né xung đột DMA

	            // Gửi Battery
	     CRsF_Pack_Battery(tx_buf);
	     HAL_UART_Transmit_DMA(&huart3, tx_buf, 12);

	     osDelay(10);
	     // Gửi Flight Mode
	     const char* mode = ScaledControllerOutput[CH_ARM] > 1500 ? "ARMED" : "STAB";
	     CRsF_Pack_FlightMode(tx_buf, mode);
	     // Tính độ dài gói tin Flight Mode
	     uint8_t len = tx_buf[1] + 2;
	     HAL_UART_Transmit_DMA(&huart3, tx_buf, len);
	  }

	  osDelayUntil(&xLastWakeTime, 100);
  }
  /* USER CODE END telemetry_func */
}
